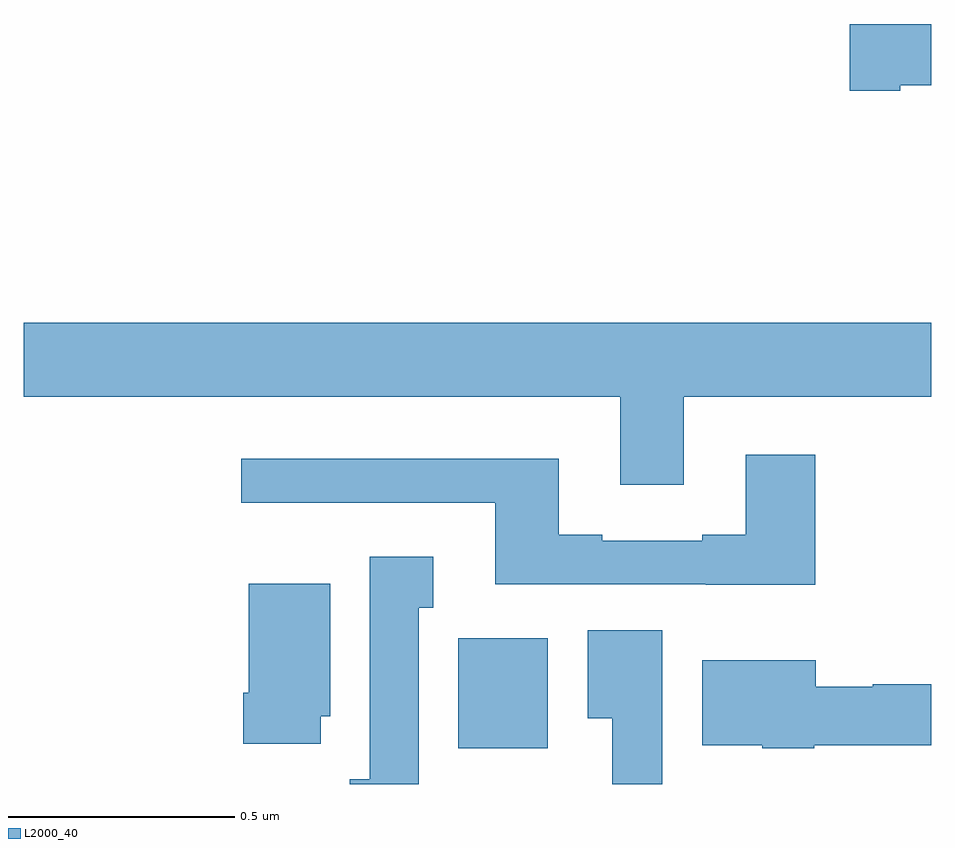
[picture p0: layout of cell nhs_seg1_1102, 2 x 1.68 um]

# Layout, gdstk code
import gdstk
lib = gdstk.Library(unit=1e-6, precision=1e-09)
def R(c, l, rs):  # rectangles x0, y0, x1, y1
    for r in rs: c.add(gdstk.rectangle(r[:2], r[2:], *l))
def P(c, l, *ps):  # polygons
    for p in ps: c.add(gdstk.Polygon(p, *l))
L2000_40 = (2000, 40)

nhs_seg1_1102 = lib.new_cell('nhs_seg1_1102')
R(nhs_seg1_1102, L2000_40, [(124.958,564.278,125.155,564.52)])
P(nhs_seg1_1102, L2000_40, [(125.932,565.739),(126,565.739),(126,565.874),(125.82,565.874),(125.82,565.727),(125.932,565.727)],
  [(125.455,565.052),(126,565.052),(126,565.216),(124,565.216),(124,565.052),(125.315,565.052),(125.315,564.858),(125.455,564.858)],
  [(125.744,564.925),(125.591,564.925),(125.591,564.748),(125.495,564.748),(125.495,564.735),(125.275,564.735),(125.275,564.748),(125.179,564.748),(125.179,564.916),(124.479,564.916),(124.479,564.819),(125.039,564.819),(125.039,564.639),(125.503,564.639),(125.503,564.638),(125.744,564.638)],
  [(124.87,564.587),(124.903,564.587),(124.903,564.7),(124.763,564.7),(124.763,564.21),(124.718,564.21),(124.718,564.199),(124.87,564.199)],
  [(124.654,564.348),(124.675,564.348),(124.675,564.64),(124.496,564.64),(124.496,564.4),(124.484,564.4),(124.484,564.288),(124.654,564.288)],
  [(125.407,564.538),(125.243,564.538),(125.243,564.344),(125.297,564.344),(125.297,564.199),(125.407,564.199)],
  [(125.742,564.284),(126,564.284),(126,564.419),(125.871,564.419),(125.871,564.413),(125.746,564.413),(125.746,564.472),(125.495,564.472),(125.495,564.284),(125.628,564.284),(125.628,564.278),(125.742,564.278)])

lib.write_gds('nhs_seg1_1102.gds')
